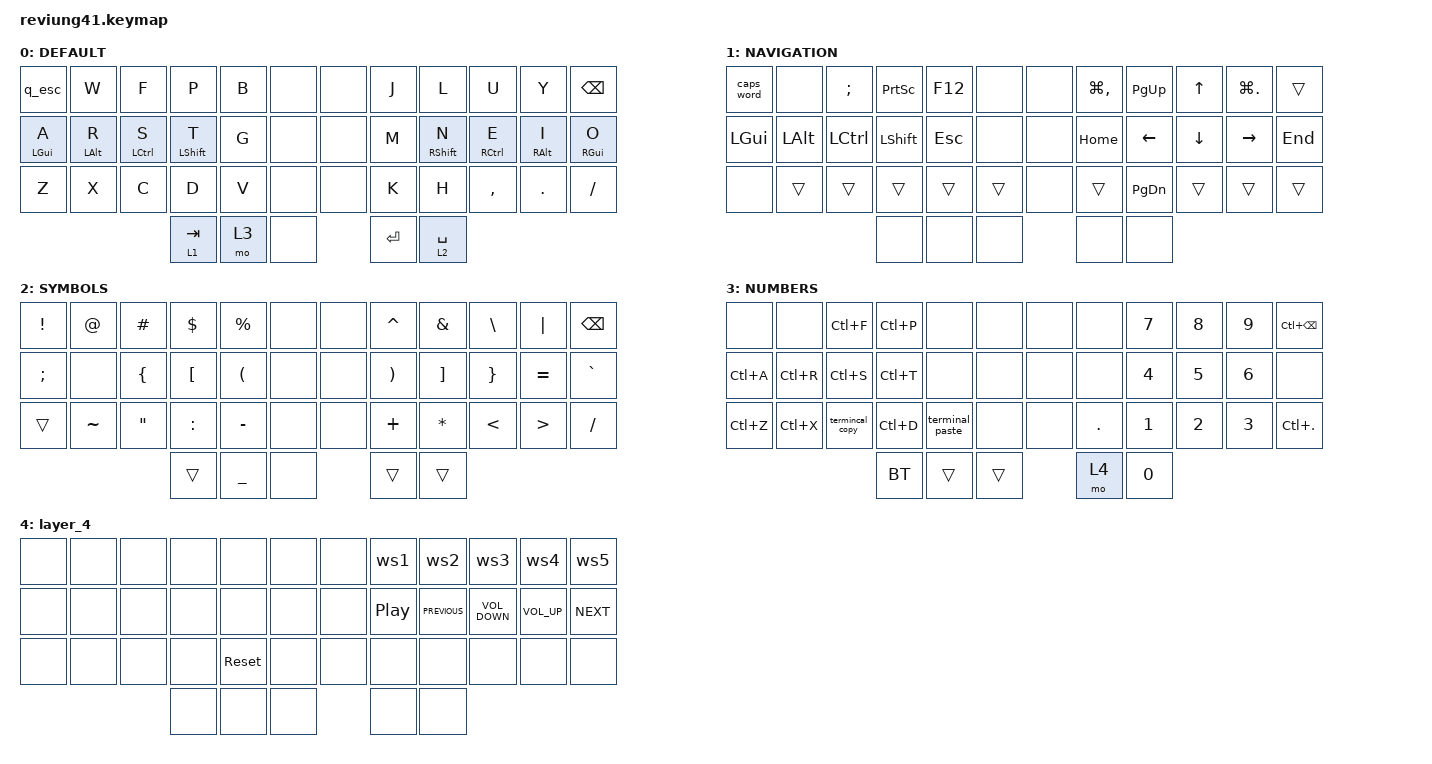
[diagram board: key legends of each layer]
/*
 * Copyright (c) 2020 The ZMK Contributors
 *
 * SPDX-License-Identifier: MIT
 */

#include <behaviors.dtsi>
#include <dt-bindings/zmk/bt.h>
#include <dt-bindings/zmk/keys.h>

#define DEFAULT 0
#define LOWER   1
#define RAISE   2

/ {
    behaviors {
        hml: hml {
            compatible = "zmk,behavior-hold-tap";
            label = "HML";
            bindings = <&kp>, <&kp>;

            #binding-cells = <2>;
            tapping-term-ms = <280>;
            quick-tap-ms = <175>;
            require-prior-idle-ms = <150>;
            flavor = "balanced";
            hold-trigger-key-positions = <6 7 8 9 10 11 18 19 20 21 22 23 30 31 32 33 34 35 39 40 36 37 38>;
            hold-trigger-on-release;
        };

        hmr: hmr {
            compatible = "zmk,behavior-hold-tap";
            label = "HMR";
            bindings = <&kp>, <&kp>;

            #binding-cells = <2>;
            tapping-term-ms = <280>;
            quick-tap-ms = <175>;
            require-prior-idle-ms = <150>;
            flavor = "balanced";
            hold-trigger-key-positions = <0 1 2 3 4 5 12 13 14 15 16 17 24 25 26 27 28 29 36 37 38 39 40>;
            hold-trigger-on-release;
        };

        sticky_quick: sticky_quick {
            compatible = "zmk,behavior-sticky-key";
            label = "STICKY_QUICK";
            bindings = <&kp>;
            #binding-cells = <1>;
            release-after-ms = <1000>;
            quick-release;
            ignore-modifiers;
        };

        q_esc: q_esc {
            compatible = "zmk,behavior-tap-dance";
            label = "Q_ESC";
            #binding-cells = <0>;
            bindings = <&kp Q>, <&kp ESC>;
        };

        sticky_shift_layer: sticky_shift_layer {
            compatible = "zmk,behavior-hold-tap";
            label = "STICKY_SHIFT_LAYER";
            bindings = <&mo>, <&none>;

            #binding-cells = <2>;
            tapping-term-ms = <280>;
            quick-tap-ms = <175>;
            require-prior-idle-ms = <150>;
            flavor = "balanced";
            hold-trigger-on-release;
        };

        termincal_copy: termincal_copy {
            compatible = "zmk,behavior-tap-dance";
            label = "TERMINCAL_COPY";
            #binding-cells = <0>;
            bindings = <&kp LC(C)>, <&kp LC(LS(C))>;
        };

        terminal_paste: terminal_paste {
            compatible = "zmk,behavior-tap-dance";
            label = "TERMINAL_PASTE";
            #binding-cells = <0>;
            bindings = <&kp LC(V)>, <&kp LC(LS(V))>;
        };

        tab_layer: tab_layer {
            compatible = "zmk,behavior-hold-tap";
            label = "TAB_LAYER";
            bindings = <&mo>, <&kp>;

            #binding-cells = <2>;
            tapping-term-ms = <181>;
            quick-tap-ms = <175>;
            require-prior-idle-ms = <150>;
            hold-while-undecided;
            hold-trigger-key-positions = <0 1 2 3 4 5 6 7 8 9 10 11 12 13 14 15 16 17 18 19 20 21 22 23 24 25 26 27 28 29 30 31 32 33 34 35>;
        };

        ws1: ws1 {
            compatible = "zmk,behavior-tap-dance";
            label = "WS1";
            #binding-cells = <0>;
            bindings = <&kp LG(NUMBER_1)>, <&kp LG(LS(NUMBER_1))>;
        };

        ws2: ws2 {
            compatible = "zmk,behavior-tap-dance";
            label = "WS2";
            #binding-cells = <0>;
            bindings = <&kp LG(NUMBER_2)>, <&kp LG(LS(NUMBER_2))>;
        };

        ws3: ws3 {
            compatible = "zmk,behavior-tap-dance";
            label = "WS3";
            #binding-cells = <0>;
            bindings = <&kp LG(NUMBER_3)>, <&kp LG(LS(NUMBER_3))>;
        };

        ws4: ws4 {
            compatible = "zmk,behavior-tap-dance";
            label = "WS4";
            #binding-cells = <0>;
            bindings = <&kp LG(NUMBER_4)>, <&kp LG(LS(NUMBER_4))>;
        };

        ws5: ws5 {
            compatible = "zmk,behavior-tap-dance";
            label = "WS5";
            #binding-cells = <0>;
            bindings = <&kp LG(N5)>, <&kp LG(LS(N5))>;
        };

        BT: BT {
            compatible = "zmk,behavior-tap-dance";
            label = "BT";
            #binding-cells = <0>;
            bindings = <&bt BT_NXT>, <&bt BT_CLR_ALL>;
        };
    };

    keymap {
        compatible = "zmk,keymap";

        DEFAULT {
            bindings = <
&q_esc           &kp W            &kp F         &kp P              &kp B  &none         &none  &kp J      &kp L               &kp U         &kp Y             &kp BACKSPACE
&hml LEFT_GUI A  &hml LEFT_ALT R  &hml LCTRL S  &hml LEFT_SHIFT T  &kp G  &none         &none  &kp M      &hmr RIGHT_SHIFT N  &hmr RCTRL E  &hmr RIGHT_ALT I  &hmr RIGHT_GUI O
&kp Z            &kp X            &kp C         &kp D              &kp V  &none         &none  &kp K      &kp H               &kp COMMA     &kp DOT           &kp FSLH
                                                &lt 1 TAB          &mo 3         &none         &kp ENTER  &lt 2 SPACE
            >;
        };

        NAVIGATION {
            // ------------------------------------------------------------------------------------
            // |    |  !  |  @  |  #  |  $  |  %  |   |  ^  |  &  |  *  |  (  |  )  |      DEL    |
            // |    |  _  |  +  |  {  |  }  | "|" |   | LFT | DWN |  UP | RGT |  `  |       \     |
            // |    | ESC | GUI | ALT | CAPS|  "  |   | HOME| END | PGUP| PGDN| PRSC| SHFT(SPACE) |
            //                       |     |     | RET |     |     |

            bindings = <
&caps_word    &none         &kp SEMI   &kp PRINTSCREEN  &kp F12  &none          &none  &kp LG(COMMA)  &kp PG_UP  &kp UP_ARROW    &kp LG(PERIOD)   &trans
&kp LEFT_GUI  &kp LEFT_ALT  &kp LCTRL  &kp LEFT_SHIFT   &kp ESC  &none          &none  &kp HOME       &kp LEFT   &kp DOWN_ARROW  &kp RIGHT_ARROW  &kp END
&none         &trans        &trans     &trans           &trans   &trans         &none  &trans         &kp PG_DN  &trans          &trans           &trans
                                       &none            &none            &none         &none          &none
            >;
        };

        SYMBOLS {
            // ----------------------------------------------------------------------------
            // |    |  1  |  2  |  3  |  4  |  5  |   |  6  |  7  |  8  |  9  |  0  | DEL |
            // |    |  -  |  =  |  [  |  ]  |  \  |   | F1  | F2  | F3  | F4  | F5  | F6  |
            // |    | ESC | GUI | ALT | CAPS|  "  |   | F7  | F8  | F9  | F10 | F11 | F12 |
            //                       |     | ADJ | BKSP |    |     |

            bindings = <
&kp EXCLAMATION  &kp AT     &kp HASH           &kp DOLLAR        &kp PERCENT           &none         &none  &kp CARET              &kp AMPS           &kp BACKSLASH    &kp PIPE          &kp BACKSPACE
&kp SEMI         &none      &kp LEFT_BRACE     &kp LEFT_BRACKET  &kp LEFT_PARENTHESIS  &none         &none  &kp RIGHT_PARENTHESIS  &kp RIGHT_BRACKET  &kp RIGHT_BRACE  &kp EQUAL         &kp GRAVE
&trans           &kp TILDE  &kp DOUBLE_QUOTES  &kp COLON         &kp MINUS             &none         &none  &kp PLUS               &kp ASTRK          &kp LESS_THAN    &kp GREATER_THAN  &kp SLASH
                                               &trans            &kp UNDER                    &none         &trans                 &trans
            >;
        };

        NUMBERS {
            // -----------------------------------------------------------------------------------------
            // | RGB BRI+ | RGB SAT+ | RGB HUE+ | RGB ANI+ |    | RGB TOG |   |  BT1  | BT2 | BT3 | BT4 | BT5 | BT CLR |
            // | RGB BRI- | RGB SAT- | RGB HUE- | RGB ANI- |    |         |   |       |     |     |     |     |        |
            // |          |          |          |          |    |         |   | RESET |     |     |     |     |        |
            //                                              |     |     |     |     |     |

            bindings = <
&none      &none      &kp LC(F)        &kp LC(P)  &none            &none          &none  &none       &kp N7        &kp N8  &kp N9  &kp LC(BACKSPACE)
&kp LC(A)  &kp LC(R)  &kp LC(S)        &kp LC(T)  &none            &none          &none  &none       &kp N4        &kp N5  &kp N6  &none
&kp LC(Z)  &kp LC(X)  &termincal_copy  &kp LC(D)  &terminal_paste  &none          &none  &kp PERIOD  &kp N1        &kp N2  &kp N3  &kp LC(PERIOD)
                                       &BT        &trans                  &trans         &mo 4       &kp NUMBER_0
            >;
        };

        layer_4 {
            bindings = <
&none  &none  &none  &none  &none       &none         &none  &ws1              &ws2            &ws3               &ws4             &ws5
&none  &none  &none  &none  &none       &none         &none  &kp C_PLAY_PAUSE  &kp C_PREVIOUS  &kp C_VOLUME_DOWN  &kp C_VOLUME_UP  &kp C_NEXT
&none  &none  &none  &none  &sys_reset  &none         &none  &none             &none           &none              &none            &none
                     &none  &none              &none         &none             &none
            >;
        };
    };
};
